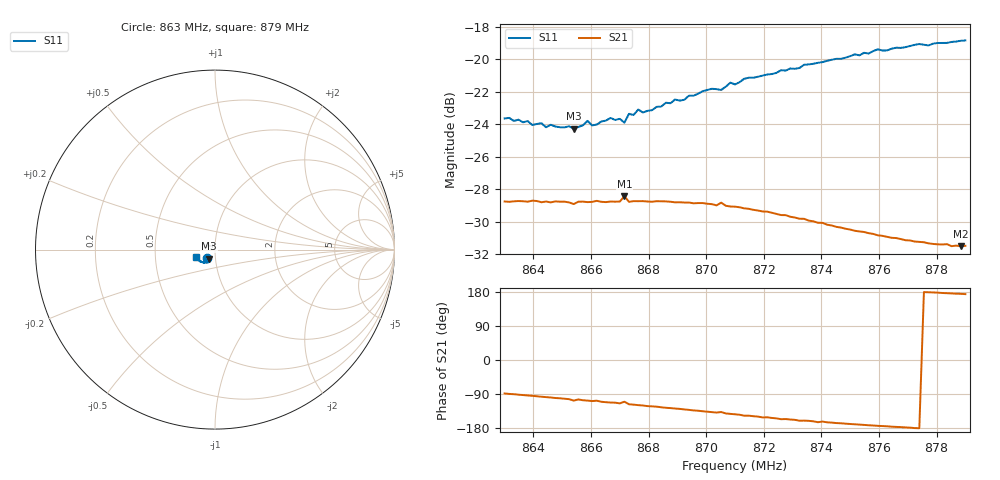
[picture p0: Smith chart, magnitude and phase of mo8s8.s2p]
# HZ S RI R 50
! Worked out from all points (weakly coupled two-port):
!   101 points, 863 MHz to 879 MHz, reference 50 ohm
!   highest |S21| = -28.43 dB at 867.16 MHz (marker M1); lowest = -31.5 dB at 878.84 MHz (marker M2)
!   lowest |S11| = -24.3 dB at 865.4 MHz (marker M3), VSWR 1.13, Z = 46.5 - j4.79 ohm
!   |S11| at or under -10 dB: start of sweep to end of sweep
!   S12 and S22 are empty: the file has one direction only
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8.63e8  -0.0446 -0.0483  0.00111 -0.0365  0 0  0 0
8.654e8  -0.0332 -0.0513  -0.0106 -0.0343  0 0  0 0
8.6572e8  -0.0336 -0.0529  -0.0102 -0.035  0 0  0 0
8.6588e8  -0.0347 -0.0545  -0.0107 -0.0347  0 0  0 0
8.6604e8  -0.034 -0.0526  -0.0115 -0.0345  0 0  0 0
8.6668e8  -0.0338 -0.0566  -0.0138 -0.0338  0 0  0 0
8.67e8  -0.0327 -0.0568  -0.0151 -0.0332  0 0  0 0
8.6716e8  -0.0228 -0.0596  -0.013 -0.0356  0 0  0 0
8.6732e8  -0.033 -0.0594  -0.0164 -0.0325  0 0  0 0
8.6748e8  -0.032 -0.0593  -0.0171 -0.0324  0 0  0 0
8.6764e8  -0.0339 -0.0613  -0.0178 -0.032  0 0  0 0
8.678e8  -0.0331 -0.06  -0.0183 -0.0317  0 0  0 0
8.6844e8  -0.0349 -0.0624  -0.0208 -0.03  0 0  0 0
8.6988e8  -0.0405 -0.0687  -0.0257 -0.0254  0 0  0 0
8.7052e8  -0.0376 -0.0711  -0.0266 -0.0246  0 0  0 0
8.7084e8  -0.0471 -0.0704  -0.0278 -0.0216  0 0  0 0
8.71e8  -0.0453 -0.0703  -0.0282 -0.0211  0 0  0 0
8.7132e8  -0.0481 -0.0726  -0.0292 -0.019  0 0  0 0
8.7372e8  -0.0639 -0.0727  -0.0301 -0.00991  0 0  0 0
8.7644e8  -0.0889 -0.0609  -0.0282 -0.00197  0 0  0 0
8.7884e8  -0.106 -0.0417  -0.0265 0.00249  0 0  0 0
8.79e8  -0.1072 -0.0394  -0.0265 0.00287  0 0  0 0
